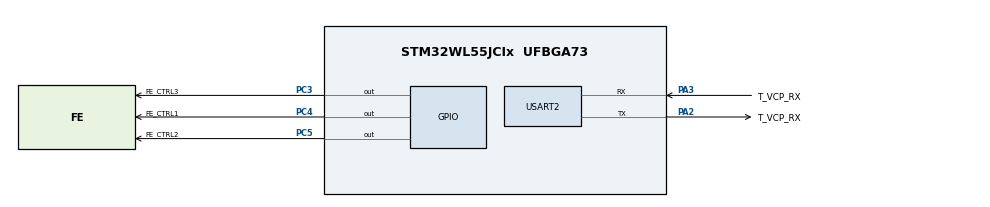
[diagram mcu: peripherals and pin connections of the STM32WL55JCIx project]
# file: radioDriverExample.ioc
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Mcu.Family=STM32WL
Mcu.Name=STM32WL55JCIx
Mcu.Package=UFBGA73
NVIC.PriorityGroup=NVIC_PRIORITYGROUP_4
NVIC.SUBGHZ_Radio_IRQn=true\:0\:0\:false\:false\:true\:true\:true\:true
PA2.GPIO_Label=T_VCP_RX
PA2.Mode=Asynchronous
PA2.Signal=USART2_TX
PA3.GPIO_Label=T_VCP_RX
PA3.Mode=Asynchronous
PA3.Signal=USART2_RX
PC14-OSC32_IN.GPIO_Label=RCC_OSC32_IN
PC14-OSC32_IN.Signal=RCC_OSC32_IN
PC15-OSC32_OUT.GPIO_Label=RCC_OSC32_OUT
PC15-OSC32_OUT.Signal=RCC_OSC32_OUT
PC3.GPIO_Label=FE_CTRL3
PC3.GPIO_Speed=GPIO_SPEED_FREQ_VERY_HIGH
PC3.Signal=GPIO_Output
PC4.GPIO_Label=FE_CTRL1
PC4.GPIO_Speed=GPIO_SPEED_FREQ_VERY_HIGH
PC4.Signal=GPIO_Output
PC5.GPIO_Label=FE_CTRL2
PC5.GPIO_Speed=GPIO_SPEED_FREQ_VERY_HIGH
PC5.Signal=GPIO_Output
ProjectManager.HeapSize=0x200
ProjectManager.StackSize=0x400
ProjectManager.TargetToolchain=STM32CubeIDE
RCC.AHBFreq_Value=48000000
RCC.APB1Freq_Value=48000000
RCC.APB1TimFreq_Value=48000000
RCC.APB2Freq_Value=48000000
RCC.APB2TimFreq_Value=48000000
RCC.APB3Freq_Value=48000000
RCC.CortexFreq_Value=48000000
RCC.HCLKFreq_Value=48000000
RCC.HSE_VALUE=32000000
RCC.HSI_VALUE=16000000
RCC.LSE_VALUE=32768
RCC.MSIClockRange=RCC_MSIRANGE_11
RCC.SYSCLKFreq_VALUE=48000000
RCC.VCOOutputFreq_Value=384000000
SUBGHZ.BaudratePrescaler=SUBGHZSPI_BAUDRATEPRESCALER_4
USART2.VirtualMode-Asynchronous=VM_ASYNC
VP_SUBGHZ_VS_SUBGHZ.Mode=SUBGHZ_Activate
board=NUCLEO-WL55JC1

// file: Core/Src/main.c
/* USER CODE BEGIN Header */
/**
  ******************************************************************************
  * @file           : main.c
  * @brief          : Main program body
  ******************************************************************************
  * @attention
  *
  * <h2><center>&copy; Copyright (c) 2021 STMicroelectronics.
  * All rights reserved.</center></h2>
  *
  * This software component is licensed by ST under BSD 3-Clause license,
  * the "License"; You may not use this file except in compliance with the
  * License. You may obtain a copy of the License at:
  *                        opensource.org/licenses/BSD-3-Clause
  *
  ******************************************************************************
  */
/* USER CODE END Header */
#include "main.h"
#include "subghz.h"
#include "usart.h"
#include "gpio.h"

/* USER CODE BEGIN Includes */

#include <string.h>
#include <stdio.h>
#include "radio_driver.h"
#include "stm32wlxx_nucleo.h"

/* USER CODE END Includes */

/* USER CODE BEGIN PTD */

typedef enum
{
  STATE_NULL,
  STATE_MASTER,
  STATE_SLAVE
} state_t;

typedef enum
{
  SSTATE_NULL,
  SSTATE_RX,
  SSTATE_TX
} substate_t;

typedef struct
{
  state_t state;
  substate_t subState;
  uint32_t rxTimeout;
  uint32_t rxMargin;
  uint32_t randomDelay;
  char rxBuffer[RX_BUFFER_SIZE];
  uint8_t rxSize;
} pingPongFSM_t;

/* USER CODE END PTD */

/* USER CODE BEGIN PM */

#define RF_FREQUENCY                                915000000 /* Hz */
#define TX_OUTPUT_POWER                             14        /* dBm */
#define FSK_FDEV                                    25000     /* Hz */
#define FSK_DATARATE                                50000     /* bps */
#define FSK_BANDWIDTH                               50000     /* Hz */
#define FSK_PREAMBLE_LENGTH                         5         /* Same for Tx and Rx */
#define FSK_SYNCWORD_LENGTH                         3
//#define FSK_FIX_LENGTH_PAYLOAD_ON                   false
//#define PAYLOAD_LEN                                 64

/* USER CODE END PM */

/* USER CODE BEGIN PV */

pingPongFSM_t fsm;

void (*volatile eventReceptor)(pingPongFSM_t *const fsm);
PacketParams_t packetParams;  // TODO: this is lazy...

/* USER CODE END PV */

void SystemClock_Config(void);
/* USER CODE BEGIN PFP */

void radioInit(void);
void RadioOnDioIrq(RadioIrqMasks_t radioIrq);
void eventTxDone(pingPongFSM_t *const fsm);
void eventRxDone(pingPongFSM_t *const fsm);
void eventTxTimeout(pingPongFSM_t *const fsm);
void eventRxTimeout(pingPongFSM_t *const fsm);
void eventRxError(pingPongFSM_t *const fsm);
void enterMasterRx(pingPongFSM_t *const fsm);
void enterSlaveRx(pingPongFSM_t *const fsm);
void enterMasterTx(pingPongFSM_t *const fsm);
void enterSlaveTx(pingPongFSM_t *const fsm);
void transitionRxDone(pingPongFSM_t *const fsm);

/* USER CODE END PFP */

int main(void)
{
  /* USER CODE BEGIN 1 */

  char uartBuff[100];

  /* USER CODE END 1 */

  /* MCU Configuration--------------------------------------------------------*/

  /* Reset of all peripherals, Initializes the Flash interface and the Systick. */
  HAL_Init();

  /* Configure the system clock */
  SystemClock_Config();

  /* USER CODE BEGIN SysInit */

  /*** GPIO Configuration (for debugging) ***/
  /* DEBUG_SUBGHZSPI_NSSOUT = PA4
   * DEBUG_SUBGHZSPI_SCKOUT = PA5
   * DEBUG_SUBGHZSPI_MISOOUT = PA6
   * DEBUG_SUBGHZSPI_MOSIOUT = PA7
   * DEBUG_RF_HSE32RDY = PA10
   * DEBUG_RF_NRESET = PA11
   * DEBUG_RF_SMPSRDY = PB2
   * DEBUG_RF_DTB1 = PB3 <---- Conflicts with RF_IRQ0
   * DEBUG_RF_LDORDY = PB4
   * RF_BUSY = PA12
   * RF_IRQ0 = PB3
   * RF_IRQ1 = PB5
   * RF_IRQ2 = PB8
   */

  GPIO_InitTypeDef GPIO_InitStruct = {0};

  // Enable GPIO Clocks
  __HAL_RCC_GPIOA_CLK_ENABLE();
  __HAL_RCC_GPIOB_CLK_ENABLE();

  // DEBUG_SUBGHZSPI_{NSSOUT, SCKOUT, MSIOOUT, MOSIOUT} pins
  GPIO_InitStruct.Pin = GPIO_PIN_4 | GPIO_PIN_5 | GPIO_PIN_6 | GPIO_PIN_7;
  GPIO_InitStruct.Mode = GPIO_MODE_AF_PP;
  GPIO_InitStruct.Pull = GPIO_NOPULL;
  GPIO_InitStruct.Speed = GPIO_SPEED_FREQ_VERY_HIGH;
  GPIO_InitStruct.Alternate = GPIO_AF13_DEBUG_SUBGHZSPI;
  HAL_GPIO_Init(GPIOA, &GPIO_InitStruct);

  // DEBUG_RF_{HSE32RDY, NRESET} pins
  GPIO_InitStruct.Pin = GPIO_PIN_10 | GPIO_PIN_11;
  GPIO_InitStruct.Alternate = GPIO_AF13_DEBUG_RF;
  HAL_GPIO_Init(GPIOA, &GPIO_InitStruct);

  // DEBUG_RF_{SMPSRDY, LDORDY} pins
  GPIO_InitStruct.Pin = GPIO_PIN_2 | GPIO_PIN_4;
  HAL_GPIO_Init(GPIOB, &GPIO_InitStruct);

  // RF_BUSY pin
  GPIO_InitStruct.Pin = GPIO_PIN_12;
  GPIO_InitStruct.Alternate = GPIO_AF6_RF_BUSY;
  HAL_GPIO_Init(GPIOA, &GPIO_InitStruct);

  // RF_{IRQ0, IRQ1, IRQ2} pins
  GPIO_InitStruct.Pin = GPIO_PIN_3 | GPIO_PIN_5 | GPIO_PIN_8;
  HAL_GPIO_Init(GPIOB, &GPIO_InitStruct);

  /* USER CODE END SysInit */

  /* Initialize all configured peripherals */
  MX_GPIO_Init();
  MX_USART2_UART_Init();
  MX_SUBGHZ_Init();
  /* USER CODE BEGIN 2 */

  BSP_LED_Init(LED_GREEN);
  BSP_LED_Init(LED_RED);

  strcpy(uartBuff, "\n\rPING PONG\r\nAPP_VERSION=0.0.2\r\n---------------\r\n");
  HAL_UART_Transmit(&huart2, (uint8_t *)uartBuff, strlen(uartBuff), HAL_MAX_DELAY);
  sprintf(uartBuff, "FSK_MODULATION\r\nFSK_BW=%d Hz\r\nFSK_DR=%d bits/s\r\n", FSK_BANDWIDTH, FSK_DATARATE);
  HAL_UART_Transmit(&huart2, (uint8_t *)uartBuff, strlen(uartBuff), HAL_MAX_DELAY);
  radioInit();

  /* USER CODE END 2 */

  /* Infinite loop */
  /* USER CODE BEGIN WHILE */

  // get random number
  uint32_t rnd = 0;
  SUBGRF_SetDioIrqParams(IRQ_RADIO_NONE, IRQ_RADIO_NONE, IRQ_RADIO_NONE, IRQ_RADIO_NONE);
  rnd = SUBGRF_GetRandom();

  fsm.state = STATE_NULL;
  fsm.subState = SSTATE_NULL;
  fsm.rxTimeout = 3000; // 3000 ms
  fsm.rxMargin = 200;   // 200 ms
  fsm.randomDelay = rnd >> 22; // [0, 1023] ms
  sprintf(uartBuff, "rand=%lu\r\n", fsm.randomDelay);
  HAL_UART_Transmit(&huart2, (uint8_t *)uartBuff, strlen(uartBuff), HAL_MAX_DELAY);

  HAL_Delay(fsm.randomDelay);
  SUBGRF_SetDioIrqParams( IRQ_RX_DONE | IRQ_RX_TX_TIMEOUT | IRQ_CRC_ERROR,
                          IRQ_RX_DONE | IRQ_RX_TX_TIMEOUT | IRQ_CRC_ERROR,
                          IRQ_RADIO_NONE,
                          IRQ_RADIO_NONE );
  SUBGRF_SetSwitch(RFO_LP, RFSWITCH_RX);
  SUBGRF_SetRx(fsm.rxTimeout << 6);
  fsm.state = STATE_MASTER;
  fsm.subState = SSTATE_RX;

  while (1)
  {
    /* USER CODE END WHILE */

    /* USER CODE BEGIN 3 */

    eventReceptor = NULL;
    while (eventReceptor == NULL);
    eventReceptor(&fsm);
  }
  /* USER CODE END 3 */
}

void SystemClock_Config(void)
{
  RCC_OscInitTypeDef RCC_OscInitStruct = {0};
  RCC_ClkInitTypeDef RCC_ClkInitStruct = {0};

  /** Configure LSE Drive Capability
  */
  HAL_PWR_EnableBkUpAccess();
  __HAL_RCC_LSEDRIVE_CONFIG(RCC_LSEDRIVE_LOW);
  /** Configure the main internal regulator output voltage
  */
  __HAL_PWR_VOLTAGESCALING_CONFIG(PWR_REGULATOR_VOLTAGE_SCALE1);
  /** Initializes the CPU, AHB and APB busses clocks
  */
  RCC_OscInitStruct.OscillatorType = RCC_OSCILLATORTYPE_LSE|RCC_OSCILLATORTYPE_MSI;
  RCC_OscInitStruct.LSEState = RCC_LSE_ON;
  RCC_OscInitStruct.MSIState = RCC_MSI_ON;
  RCC_OscInitStruct.MSICalibrationValue = RCC_MSICALIBRATION_DEFAULT;
  RCC_OscInitStruct.MSIClockRange = RCC_MSIRANGE_11;
  RCC_OscInitStruct.PLL.PLLState = RCC_PLL_NONE;
  if (HAL_RCC_OscConfig(&RCC_OscInitStruct) != HAL_OK)
  {
    Error_Handler();
  }
  /** Configure the SYSCLKSource, HCLK, PCLK1 and PCLK2 clocks dividers
  */
  RCC_ClkInitStruct.ClockType = RCC_CLOCKTYPE_HCLK3|RCC_CLOCKTYPE_HCLK
                              |RCC_CLOCKTYPE_SYSCLK|RCC_CLOCKTYPE_PCLK1
                              |RCC_CLOCKTYPE_PCLK2;
  RCC_ClkInitStruct.SYSCLKSource = RCC_SYSCLKSOURCE_MSI;
  RCC_ClkInitStruct.AHBCLKDivider = RCC_SYSCLK_DIV1;
  RCC_ClkInitStruct.APB1CLKDivider = RCC_HCLK_DIV1;
  RCC_ClkInitStruct.APB2CLKDivider = RCC_HCLK_DIV1;
  RCC_ClkInitStruct.AHBCLK3Divider = RCC_SYSCLK_DIV1;

  if (HAL_RCC_ClockConfig(&RCC_ClkInitStruct, FLASH_LATENCY_2) != HAL_OK)
  {
    Error_Handler();
  }
}

/* USER CODE BEGIN 4 */

/**
  * @brief  Initialize the Sub-GHz radio and dependent hardware.
  * @retval None
  */
void radioInit(void)
{
  // Initialize the hardware (SPI bus, TCXO control, RF switch)
  SUBGRF_Init(RadioOnDioIrq);

  // Use DCDC converter if `DCDC_ENABLE` is defined in radio_conf.h
  // "By default, the SMPS clock detection is disabled and must be enabled before enabling the SMPS." (6.1 in RM0453)
  SUBGRF_WriteRegister(SUBGHZ_SMPSC0R, (SUBGRF_ReadRegister(SUBGHZ_SMPSC0R) | SMPS_CLK_DET_ENABLE));
  SUBGRF_SetRegulatorMode();

  // Use the whole 256-byte buffer for both TX and RX
  SUBGRF_SetBufferBaseAddress(0x00, 0x00);

  SUBGRF_SetRfFrequency(RF_FREQUENCY);
  SUBGRF_SetRfTxPower(TX_OUTPUT_POWER);
  SUBGRF_SetStopRxTimerOnPreambleDetect(false);

  SUBGRF_SetPacketType(PACKET_TYPE_GFSK);

  ModulationParams_t modulationParams;
  modulationParams.PacketType = PACKET_TYPE_GFSK;
  modulationParams.Params.Gfsk.Bandwidth = SUBGRF_GetFskBandwidthRegValue(FSK_BANDWIDTH);
  modulationParams.Params.Gfsk.BitRate = FSK_DATARATE;
  modulationParams.Params.Gfsk.Fdev = FSK_FDEV;
  modulationParams.Params.Gfsk.ModulationShaping = MOD_SHAPING_G_BT_1;
  SUBGRF_SetModulationParams(&modulationParams);

  packetParams.PacketType = PACKET_TYPE_GFSK;
  packetParams.Params.Gfsk.AddrComp = RADIO_ADDRESSCOMP_FILT_OFF;
  packetParams.Params.Gfsk.CrcLength = RADIO_CRC_2_BYTES_CCIT;
  packetParams.Params.Gfsk.DcFree = RADIO_DC_FREEWHITENING;
  packetParams.Params.Gfsk.HeaderType = RADIO_PACKET_VARIABLE_LENGTH;
  packetParams.Params.Gfsk.PayloadLength = 0xFF;
  packetParams.Params.Gfsk.PreambleLength = (FSK_PREAMBLE_LENGTH << 3); // bytes to bits
  packetParams.Params.Gfsk.PreambleMinDetect = RADIO_PREAMBLE_DETECTOR_08_BITS;
  packetParams.Params.Gfsk.SyncWordLength = (FSK_SYNCWORD_LENGTH << 3); // bytes to bits
  SUBGRF_SetPacketParams(&packetParams);

  SUBGRF_SetSyncWord((uint8_t[]){0xC1, 0x94, 0xC1, 0x00, 0x00, 0x00, 0x00, 0x00});
  SUBGRF_SetWhiteningSeed(0x01FF);
}

/**
  * @brief  Receive data trough SUBGHZSPI peripheral
  * @param  radioIrq  interrupt pending status information
  * @retval None
  */
void RadioOnDioIrq(RadioIrqMasks_t radioIrq)
{
  switch (radioIrq)
  {
    case IRQ_TX_DONE:
      eventReceptor = eventTxDone;
      break;
    case IRQ_RX_DONE:
      eventReceptor = eventRxDone;
      break;
    case IRQ_RX_TX_TIMEOUT:
      if (SUBGRF_GetOperatingMode() == MODE_TX)
      {
        eventReceptor = eventTxTimeout;
      }
      else if (SUBGRF_GetOperatingMode() == MODE_RX)
      {
        eventReceptor = eventRxTimeout;
      }
      break;
    case IRQ_CRC_ERROR:
      eventReceptor = eventRxError;
      break;
    default:
      break;
  }
}

/**
  * @brief  Process the TX Done event
  * @param  fsm pointer to FSM context
  * @retval None
  */
void eventTxDone(pingPongFSM_t *const fsm)
{
  HAL_UART_Transmit(&huart2, (uint8_t *)"Event TX Done\r\n", 15, HAL_MAX_DELAY);
  switch (fsm->state)
  {
    case STATE_MASTER:
      switch (fsm->subState)
      {
        case SSTATE_TX:
          enterMasterRx(fsm);
          fsm->subState = SSTATE_RX;
          break;
        default:
          break;
      }
      break;
    case STATE_SLAVE:
      switch (fsm->subState)
      {
        case SSTATE_TX:
          enterSlaveRx(fsm);
          fsm->subState = SSTATE_RX;
          break;
        default:
          break;
      }
      break;
    default:
      break;
  }
}

/**
  * @brief  Process the RX Done event
  * @param  fsm pointer to FSM context
  * @retval None
  */
void eventRxDone(pingPongFSM_t *const fsm)
{
  HAL_UART_Transmit(&huart2, (uint8_t *)"Event RX Done\r\n", 15, HAL_MAX_DELAY);
  switch(fsm->state)
  {
    case STATE_MASTER:
      switch (fsm->subState)
      {
        case SSTATE_RX:
          transitionRxDone(fsm);
          if (strncmp(fsm->rxBuffer, "PONG", 4) == 0)
          {
            BSP_LED_Off(LED_GREEN);
            BSP_LED_Toggle(LED_RED);
            enterMasterTx(fsm);
            fsm->subState = SSTATE_TX;
          }
          else if (strncmp(fsm->rxBuffer, "PING", 4) == 0)
          {
            enterSlaveRx(fsm);
            fsm->state = STATE_SLAVE;
          }
          else
          {
            enterMasterRx(fsm);
          }
          break;
        default:
          break;
      }
      break;
    case STATE_SLAVE:
      switch (fsm->subState)
      {
        case SSTATE_RX:
          transitionRxDone(fsm);
          if (strncmp(fsm->rxBuffer, "PING", 4) == 0)
          {
            BSP_LED_Off(LED_RED);
            BSP_LED_Toggle(LED_GREEN);
            enterSlaveTx(fsm);
            fsm->subState = SSTATE_TX;
          }
          else
          {
            enterMasterRx(fsm);
            fsm->state = STATE_MASTER;
          }
          break;
        default:
          break;
      }
      break;
    default:
      break;
  }
}

/**
  * @brief  Process the TX Timeout event
  * @param  fsm pointer to FSM context
  * @retval None
  */
void eventTxTimeout(pingPongFSM_t *const fsm)
{
  HAL_UART_Transmit(&huart2, (uint8_t *)"Event TX Timeout\r\n", 18, HAL_MAX_DELAY);
  switch (fsm->state)
  {
    case STATE_MASTER:
      switch (fsm->subState)
      {
        case SSTATE_TX:
          enterMasterRx(fsm);
          fsm->subState = SSTATE_RX;
          break;
        default:
          break;
      }
      break;
    case STATE_SLAVE:
      switch (fsm->subState)
      {
        case SSTATE_TX:
          enterSlaveRx(fsm);
          fsm->subState = SSTATE_RX;
          break;
        default:
          break;
      }
      break;
    default:
      break;
  }
}

/**
  * @brief  Process the RX Timeout event
  * @param  fsm pointer to FSM context
  * @retval None
  */
void eventRxTimeout(pingPongFSM_t *const fsm)
{
  HAL_UART_Transmit(&huart2, (uint8_t *)"Event RX Timeout\r\n", 18, HAL_MAX_DELAY);
  switch (fsm->state)
  {
    case STATE_MASTER:
      switch (fsm->subState)
      {
        case SSTATE_RX:
          HAL_Delay(fsm->randomDelay);
          enterMasterTx(fsm);
          fsm->subState = SSTATE_TX;
          break;
        default:
          break;
      }
      break;
    case STATE_SLAVE:
      switch (fsm->subState)
      {
        case SSTATE_RX:
          enterSlaveRx(fsm);
          break;
        default:
          break;
      }
      break;
    default:
      break;
  }
}

/**
  * @brief  Process the RX Error event
  * @param  fsm pointer to FSM context
  * @retval None
  */
void eventRxError(pingPongFSM_t *const fsm)
{
  HAL_UART_Transmit(&huart2, (uint8_t *)"Event Rx Error\r\n", 16, HAL_MAX_DELAY);
  switch (fsm->state)
  {
    case STATE_MASTER:
      switch (fsm->subState)
      {
        case SSTATE_RX:
          HAL_Delay(fsm->randomDelay);
          enterMasterTx(fsm);
          fsm->subState = SSTATE_TX;
          break;
        default:
          break;
      }
      break;
    case STATE_SLAVE:
      switch (fsm->subState)
      {
        case SSTATE_RX:
          enterSlaveRx(fsm);
          break;
        default:
          break;
      }
      break;
    default:
      break;
  }
}

/**
  * @brief  Entry actions for the RX sub-state of the Master state
  * @param  fsm pointer to FSM context
  * @retval None
  */
void enterMasterRx(pingPongFSM_t *const fsm)
{
  HAL_UART_Transmit(&huart2, (uint8_t *)"Master Rx start\r\n", 17, HAL_MAX_DELAY);
  SUBGRF_SetDioIrqParams( IRQ_RX_DONE | IRQ_RX_TX_TIMEOUT | IRQ_CRC_ERROR,
                          IRQ_RX_DONE | IRQ_RX_TX_TIMEOUT | IRQ_CRC_ERROR,
                          IRQ_RADIO_NONE,
                          IRQ_RADIO_NONE );
  SUBGRF_SetSwitch(RFO_LP, RFSWITCH_RX);
  packetParams.Params.Gfsk.PayloadLength = 0xFF;
  SUBGRF_SetPacketParams(&packetParams);
  SUBGRF_SetRx(fsm->rxTimeout << 6);
}

/**
  * @brief  Entry actions for the RX sub-state of the Slave state
  * @param  fsm pointer to FSM context
  * @retval None
  */
void enterSlaveRx(pingPongFSM_t *const fsm)
{
  HAL_UART_Transmit(&huart2, (uint8_t *)"Slave Rx start\r\n", 16, HAL_MAX_DELAY);
  SUBGRF_SetDioIrqParams( IRQ_RX_DONE | IRQ_RX_TX_TIMEOUT | IRQ_CRC_ERROR,
                          IRQ_RX_DONE | IRQ_RX_TX_TIMEOUT | IRQ_CRC_ERROR,
                          IRQ_RADIO_NONE,
                          IRQ_RADIO_NONE );
  SUBGRF_SetSwitch(RFO_LP, RFSWITCH_RX);
  packetParams.Params.Gfsk.PayloadLength = 0xFF;
  SUBGRF_SetPacketParams(&packetParams);
  SUBGRF_SetRx(fsm->rxTimeout << 6);
}

/**
  * @brief  Entry actions for the TX sub-state of the Master state
  * @param  fsm pointer to FSM context
  * @retval None
  */
void enterMasterTx(pingPongFSM_t *const fsm)
{
  HAL_Delay(fsm->rxMargin);

  HAL_UART_Transmit(&huart2, (uint8_t *)"...PING\r\n", 9, HAL_MAX_DELAY);
  HAL_UART_Transmit(&huart2, (uint8_t *)"Master Tx start\r\n", 17, HAL_MAX_DELAY);
  SUBGRF_SetDioIrqParams( IRQ_TX_DONE | IRQ_RX_TX_TIMEOUT,
                          IRQ_TX_DONE | IRQ_RX_TX_TIMEOUT,
                          IRQ_RADIO_NONE,
                          IRQ_RADIO_NONE );
  SUBGRF_SetSwitch(RFO_LP, RFSWITCH_TX);
  // Workaround 5.1 in DS.SX1261-2.W.APP (before each packet transmission)
  SUBGRF_WriteRegister(0x0889, (SUBGRF_ReadRegister(0x0889) | 0x04));
  packetParams.Params.Gfsk.PayloadLength = 0x4;
  SUBGRF_SetPacketParams(&packetParams);
  SUBGRF_SendPayload((uint8_t *)"PING", 4, 0);
}

/**
  * @brief  Entry actions for the TX sub-state of the Slave state
  * @param  fsm pointer to FSM context
  * @retval None
  */
void enterSlaveTx(pingPongFSM_t *const fsm)
{
  HAL_Delay(fsm->rxMargin);

  HAL_UART_Transmit(&huart2, (uint8_t *)"...PONG\r\n", 9, HAL_MAX_DELAY);
  HAL_UART_Transmit(&huart2, (uint8_t *)"Slave Tx start\r\n", 16, HAL_MAX_DELAY);
  SUBGRF_SetDioIrqParams( IRQ_TX_DONE | IRQ_RX_TX_TIMEOUT,
                          IRQ_TX_DONE | IRQ_RX_TX_TIMEOUT,
                          IRQ_RADIO_NONE,
                          IRQ_RADIO_NONE );
  SUBGRF_SetSwitch(RFO_LP, RFSWITCH_TX);
  // Workaround 5.1 in DS.SX1261-2.W.APP (before each packet transmission)
  SUBGRF_WriteRegister(0x0889, (SUBGRF_ReadRegister(0x0889) | 0x04));
  packetParams.Params.Gfsk.PayloadLength = 0x4;
  SUBGRF_SetPacketParams(&packetParams);
  SUBGRF_SendPayload((uint8_t *)"PONG", 4, 0);
}

/**
  * @brief  Transition actions executed on every RX Done event (helper function)
  * @param  fsm pointer to FSM context
  * @retval None
  */
void transitionRxDone(pingPongFSM_t *const fsm)
{
  PacketStatus_t packetStatus;
  int32_t cfo;
  char uartBuff[50];

  // Workaround 15.3 in DS.SX1261-2.W.APP (because following RX w/ timeout sequence)
  SUBGRF_WriteRegister(0x0920, 0x00);
  SUBGRF_WriteRegister(0x0944, (SUBGRF_ReadRegister(0x0944) | 0x02));

  SUBGRF_GetPayload((uint8_t *)fsm->rxBuffer, &fsm->rxSize, 0xFF);
  SUBGRF_GetPacketStatus(&packetStatus);
  SUBGRF_GetCFO(FSK_DATARATE, &cfo);

  sprintf(uartBuff, "RssiValue=%d dBm, Cfo=%ld Hz\r\n", packetStatus.Params.Gfsk.RssiAvg, cfo);
  HAL_UART_Transmit(&huart2, (uint8_t *)uartBuff, strlen(uartBuff), HAL_MAX_DELAY);
}

/* USER CODE END 4 */

void Error_Handler(void)
{
  __disable_irq();
  while (1)
  {
  }
}

/************************ (C) COPYRIGHT STMicroelectronics *****END OF FILE****/
